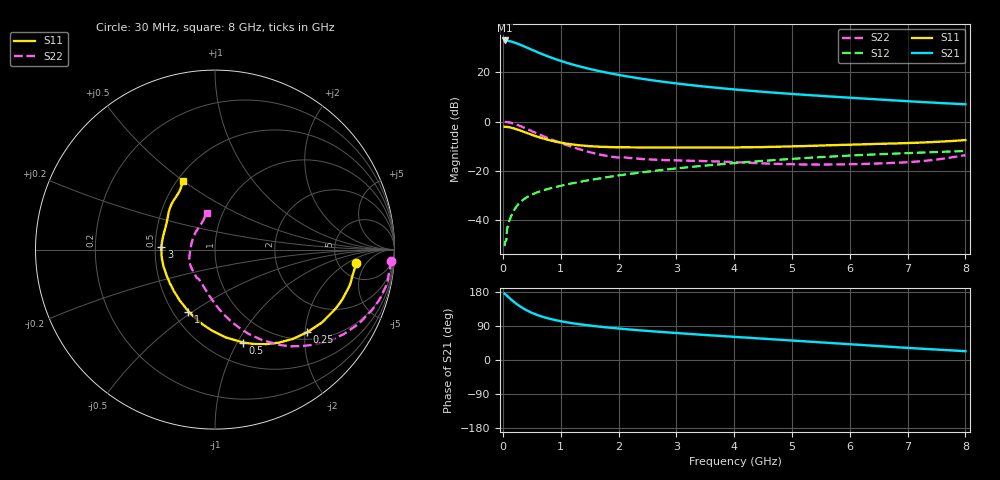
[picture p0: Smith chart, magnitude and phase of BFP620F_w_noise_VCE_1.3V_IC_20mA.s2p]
! Infineon Technologies  Discrete & RF Semiconductors
! BFP620F
! VCE =  1.3 V,  IC =  20 mA
! Common Emitter S-Parameters:  Dec 2014
# GHz  S  MA  R  50
!  f  S11  S21  S12  S22
! GHz  MAG  ANG  MAG  ANG  MAG  ANG  MAG  ANG
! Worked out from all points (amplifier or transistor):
!   95 points, 30 MHz to 8 GHz, reference 50 ohm
!   highest |S21| = 32.9 dB at 30 MHz (marker M1)
!   |S21| within 3 dB of that: start of sweep to 426.8 MHz
!   unconditionally stable (mu >= 1): 3.009 GHz to end of sweep
!   at 300 MHz: K = 0.28, MSG = 31.8 dB, |S12| = -32.5 dB
!   at 3.3 GHz: K = 1.01, MAG = 15.9 dB, |S12| = -18.3 dB
!   at 8 GHz: K = 1.06, MAG = 7.9 dB, |S12| = -11.9 dB
!   lowest NFmin = 0.84 dB at 450 MHz
!   S11 on the Smith chart (normalised r, x): 30 MHz: 7.37, -2.85; 250 MHz: 1.17, -2.05; 500 MHz: 0.72, -1.06; 1 GHz: 0.60, -0.48; 3 GHz: 0.54, +0.02; 8 GHz: 0.53, +0.50
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0.03  0.7892 -5.3  43.95 175.5  0.003 85.7  0.9816 -3.6
0.08  0.7776 -14.3  43.53 168.2  0.0074 88.9  0.9764 -11.0
0.15  0.7473 -26.3  41.59 158.6  0.0126 79.1  0.9384 -20.8
0.2  0.7211 -34.3  39.82 152.4  0.0166 74.4  0.9011 -27.3
0.25  0.6901 -41.9  37.97 146.5  0.0201 72.2  0.8587 -33.2
0.3  0.6598 -49.0  36.04 141.3  0.0236 69.3  0.8143 -38.7
0.35  0.628 -55.7  33.98 136.5  0.0261 67.2  0.7676 -43.6
0.4  0.5964 -62.1  32.14 132.1  0.0287 65.2  0.7223 -48.1
0.5  0.541 -73.1  28.52 124.6  0.0332 62.5  0.6414 -55.9
0.6  0.4927 -83.1  25.39 118.4  0.0372 60.4  0.5681 -62.5
0.7  0.4534 -91.7  22.74 113.4  0.0405 59.3  0.5066 -68.2
0.8  0.4221 -99.5  20.47 109.2  0.0439 58.8  0.4533 -73.0
1  0.3753 -113.2  16.97 102.4  0.05 58.1  0.3695 -81.6
1.2  0.3449 -124.8  14.39 97.1  0.0562 57.9  0.3072 -89.3
1.4  0.3257 -134.9  12.47 92.9  0.0624 57.8  0.2599 -96.8
2  0.3018 -158.3  8.831 83.1  0.0813 57.2  0.1868 -119.4
2.7  0.2991 -176.4  6.577 74.5  0.1031 54.8  0.1677 -139.2
3  0.2985 177.4  5.933 71.2  0.1126 53.6  0.1643 -145.3
4.1  0.3005 158.9  4.381 60.1  0.1476 48.1  0.1492 -163.0
5.4  0.3246 143.6  3.375 47.5  0.1878 39.9  0.1352 169.1
6.7  0.359 129.4  2.715 34.8  0.2226 30.7  0.145 137.5
8  0.422 115.3  2.237 23.2  0.2534 21.6  0.2092 102.6
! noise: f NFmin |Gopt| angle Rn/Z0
0.45  0.84  0.05  2  0.21
0.9  0.9  0.04  6  0.18
1.5  0.94  0.04  8  0.15
1.8  0.96  0.04  9  0.15
1.9  0.97  0.01  28  0.15
2.4  1.01  0.01  88  0.15
3.5  1.08  0.04  -178  0.15
5.5  1.22  0.15  230  0.1
6  1.25  0.15  253  0.14
